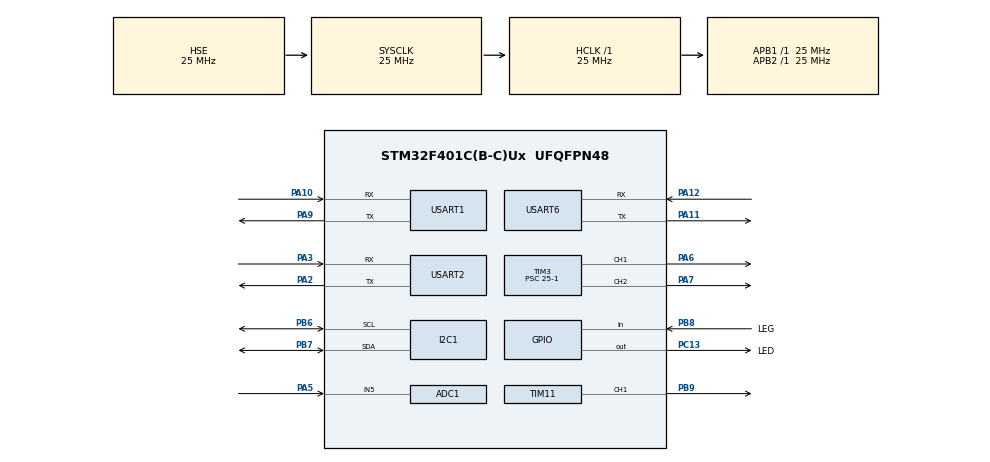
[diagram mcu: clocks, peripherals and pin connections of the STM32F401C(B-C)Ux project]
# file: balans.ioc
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ADC1.Channel-6\#ChannelRegularConversion=ADC_CHANNEL_5
ADC1.NbrOfConversionFlag=1
ADC1.Rank-6\#ChannelRegularConversion=1
ADC1.Resolution=ADC_RESOLUTION_10B
ADC1.SamplingTime-6\#ChannelRegularConversion=ADC_SAMPLETIME_3CYCLES
ADC1.master=1
Dma.Request0=USART6_RX
Dma.USART6_RX.0.Direction=DMA_PERIPH_TO_MEMORY
Dma.USART6_RX.0.FIFOMode=DMA_FIFOMODE_DISABLE
Dma.USART6_RX.0.Instance=DMA2_Stream2
Dma.USART6_RX.0.MemDataAlignment=DMA_MDATAALIGN_BYTE
Dma.USART6_RX.0.MemInc=DMA_MINC_ENABLE
Dma.USART6_RX.0.Mode=DMA_CIRCULAR
Dma.USART6_RX.0.PeriphDataAlignment=DMA_PDATAALIGN_BYTE
Dma.USART6_RX.0.PeriphInc=DMA_PINC_DISABLE
Dma.USART6_RX.0.Priority=DMA_PRIORITY_VERY_HIGH
I2C1.I2C_Mode=I2C_Fast
Mcu.Family=STM32F4
Mcu.Name=STM32F401C(B-C)Ux
Mcu.Package=UFQFPN48
NVIC.DMA2_Stream2_IRQn=true\:0\:0\:false\:false\:true\:false\:true
NVIC.PriorityGroup=NVIC_PRIORITYGROUP_4
NVIC.USART2_IRQn=true\:0\:0\:false\:false\:true\:true\:true
PA10.Mode=Asynchronous
PA10.Signal=USART1_RX
PA11.Mode=Asynchronous
PA11.Signal=USART6_TX
PA12.Mode=Asynchronous
PA12.Signal=USART6_RX
PA13.Mode=Serial_Wire
PA13.Signal=SYS_JTMS-SWDIO
PA14.Mode=Serial_Wire
PA14.Signal=SYS_JTCK-SWCLK
PA2.Mode=Asynchronous
PA2.Signal=USART2_TX
PA3.Mode=Asynchronous
PA3.Signal=USART2_RX
PA5.Signal=ADCx_IN5
PA6.Signal=S_TIM3_CH1
PA7.Signal=S_TIM3_CH2
PA9.Mode=Asynchronous
PA9.Signal=USART1_TX
PB6.Mode=I2C
PB6.Signal=I2C1_SCL
PB7.Mode=I2C
PB7.Signal=I2C1_SDA
PB8.GPIO_Label=LEG
PB8.GPIO_PuPd=GPIO_PULLUP
PB8.Signal=GPIO_Input
PB9.Signal=S_TIM11_CH1
PC13-ANTI_TAMP.GPIO_Label=LED
PC13-ANTI_TAMP.Signal=GPIO_Output
PC14-OSC32_IN.Mode=LSE-External-Oscillator
PC14-OSC32_IN.Signal=RCC_OSC32_IN
PC15-OSC32_OUT.Mode=LSE-External-Oscillator
PC15-OSC32_OUT.Signal=RCC_OSC32_OUT
PH0\ -\ OSC_IN.Mode=HSE-External-Oscillator
PH0\ -\ OSC_IN.Signal=RCC_OSC_IN
PH1\ -\ OSC_OUT.Mode=HSE-External-Oscillator
PH1\ -\ OSC_OUT.Signal=RCC_OSC_OUT
ProjectManager.HeapSize=0x200
ProjectManager.StackSize=0x400
ProjectManager.TargetToolchain=STM32CubeIDE
RCC.48MHZClocksFreq_Value=30000000
RCC.AHBFreq_Value=25000000
RCC.APB1Freq_Value=25000000
RCC.APB1TimFreq_Value=25000000
RCC.APB2Freq_Value=25000000
RCC.APB2TimFreq_Value=25000000
RCC.CortexFreq_Value=25000000
RCC.HCLKFreq_Value=25000000
RCC.HSE_VALUE=25000000
RCC.HSI_VALUE=16000000
RCC.PLLM=8
RCC.PLLN=60
RCC.SYSCLKFreq_VALUE=25000000
RCC.SYSCLKSource=RCC_SYSCLKSOURCE_HSE
RCC.VCOOutputFreq_Value=120000000
SH.ADCx_IN5.0=ADC1_IN5,IN5
SH.S_TIM11_CH1.0=TIM11_CH1,PWM Generation1 CH1
SH.S_TIM3_CH1.0=TIM3_CH1,PWM Generation1 CH1
SH.S_TIM3_CH2.0=TIM3_CH2,PWM Generation2 CH2
TIM11.AutoReloadPreload=TIM_AUTORELOAD_PRELOAD_ENABLE
TIM11.Channel=TIM_CHANNEL_1
TIM11.Period=20000-1
TIM11.Prescaler=25-1
TIM11.Pulse=0
TIM3.AutoReloadPreload=TIM_AUTORELOAD_PRELOAD_ENABLE
TIM3.Channel-PWM\ Generation1\ CH1=TIM_CHANNEL_1
TIM3.Channel-PWM\ Generation2\ CH2=TIM_CHANNEL_2
TIM3.Period=125-1
TIM3.Prescaler=25-1
USART1.VirtualMode=VM_ASYNC
USART2.VirtualMode=VM_ASYNC
USART6.VirtualMode=VM_ASYNC
VP_TIM11_VS_ClockSourceINT.Mode=Enable_Timer
VP_TIM3_VS_ClockSourceINT.Mode=Internal
board=custom

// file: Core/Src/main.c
/* USER CODE BEGIN Header */
/**
 ******************************************************************************
 * @file           : main.c
 * @brief          : Main program body
 ******************************************************************************
 * @attention
 *
 * <h2><center>&copy; Copyright (c) 2021 STMicroelectronics.
 * All rights reserved.</center></h2>
 *
 * This software component is licensed by ST under BSD 3-Clause license,
 * the "License"; You may not use this file except in compliance with the
 * License. You may obtain a copy of the License at:
 *                        opensource.org/licenses/BSD-3-Clause
 *
 ******************************************************************************
 */
/* USER CODE END Header */
#include "main.h"
#include "adc.h"
#include "dma.h"
#include "i2c.h"
#include "tim.h"
#include "usart.h"
#include "gpio.h"

/* USER CODE BEGIN Includes */
//#include <stdio.h> not needed if no debugging
//#include <string.h>
#include "hoverserial.h"
#include "mpu6050.h"
#include "ibus.h"
#include "additives.h"
#include "setting_speed_rc.h"
#include "pid.h"
#include "servo.h"
#include "leg_motor.h"
/* USER CODE END Includes */

void SystemClock_Config(void);

int main(void) {
	/* USER CODE BEGIN 1 */
	// char buffer[100]; //bufor na potrzeby debugowania w uart1
	// przyklad do wysylania danych po serialu
	// sprintf(buffer, "cos tam: %3.2f\n\r", jakis_float);
	// HAL_UART_Transmit(&huart1, (uint8_t*) buffer, strlen(buffer), 100);
	_Bool mpu6050_ready = 0; //zwracane przez MPU6050_Init()

	uint8_t balance_state_machine = 0; //maszyna stanów (stany 0 - poziomo, 1 - wstawanie, 2 - pionowo, 3 - opadanie)

	uint8_t byte;	//wymagane dla ibus
	uint16_t ibus_data[IBUS_USER_CHANNELS];

	uint32_t fall_counter = 0; // zmienna do eksperymentalnego wyznaczania czasu opadania robota

	uint32_t loop_timer = 0; //zmienne do obliczania czasu trwania pętli
	float time = 0;
	/* USER CODE END 1 */

	/* MCU Configuration--------------------------------------------------------*/

	/* Reset of all peripherals, Initializes the Flash interface and the Systick. */
	HAL_Init();

	/* Configure the system clock */
	SystemClock_Config();

	/* Initialize all configured peripherals */
	MX_GPIO_Init();
	MX_I2C1_Init();
	MX_USART1_UART_Init();
	MX_USART2_UART_Init();
	MX_DMA_Init();
	MX_USART6_UART_Init();
	MX_ADC1_Init();
	MX_TIM3_Init();
	MX_TIM11_Init();
	/* USER CODE BEGIN 2 */
	HAL_Delay(2000);
	mpu6050_ready = MPU6050_Init();
	HAL_Delay(10);

	ibus_init();

	HAL_UART_Receive_IT(commUART, &byte, sizeof(byte)); //oczekiwanie na przerwanie

	HAL_TIM_PWM_Start(motorTIM, TIM_CHANNEL_1);
	HAL_TIM_PWM_Start(motorTIM, TIM_CHANNEL_2);
	HAL_TIM_PWM_Start(servoTIM, TIM_CHANNEL_1);

	loop_timer = getCurrentMicros();
	/* USER CODE END 2 */

	/* Infinite loop */
	/* USER CODE BEGIN WHILE */
	while (1) {
		if (mpu6050_ready) {
			//jeśli mpu6050 nie jest gotowe to cały program nie wystartuje i należy zrestartować kontroler/rozwiązać problemy z magistralą I2C

			// pochodzi z hoverserial.ino
			Receive(&byte);

			ibus_read(ibus_data);
			ibus_soft_failsafe(ibus_data, 10); // if ibus is not updated, clear ibus data - pochodzi z biblioteki ibus

			int16_t V_bok_apar = ibus_data[1 - 1]; 		// predkosc boki
			int16_t V_apar = ibus_data[2 - 1]; 			// predkosc przód
			int16_t V_max_apar = ibus_data[5 - 1]; // regulacja maksymalnej predkosci silnikow w przód
			int16_t Relay_SW = ibus_data[6 - 1]; 		// zalacz silniki
			int16_t Fi_max_apar = ibus_data[7 - 1];	// regulacja maksymalnej predkosci katowej przy skrecaniu
			int16_t balancing_mode = ibus_data[8 - 1];	// przelacz tryb jazdy

			float acctheta = MPU6050_Read_Accel();
			float gyrovelo = MPU6050_Read_Gyro();

			float theta = 0.9995 * (theta + gyrovelo * time)//filtr komplementarny
			+ (1 - 0.9995) * acctheta;

			camera_angle(theta);	//ustawienie serwa kamery

			// Poniżej maszyna stanów do jazdy i zmiany trybów
			if (balance_state_machine == 0 || Relay_SW < 1900
					|| Relay_SW > 2100) {
				//pierwotny stan - 4wheel, jazda horyzontalna, także stan po wyłączeniu silników
				horizontal_control(V_bok_apar, V_apar, V_max_apar, Fi_max_apar,
						Relay_SW);
				hide_leg();
			}
			if (Relay_SW > 1900 && Relay_SW < 2100) {
				//kolejne tryby pod warunkiem załączenia silników
				if (balance_state_machine == 0 && balancing_mode > 1900
						&& balancing_mode < 2100) {
					balance_state_machine = 1;// przejście do stanu 1 - wstawanie jeżeli przełączono switcha
				}

				if (balance_state_machine == 1) {			// wstawanie
					Send(0, 0);
					leg_motor(-100);
				}

				if (balance_state_machine == 1 && theta > 70) {
					balance_state_machine = 2;// jeżeli osiągnięto 70 stopni - przejdź do trybu balansowania - stan 2
					leg_motor(0);
				}

				if (balance_state_machine == 2) {// balansowanie, kolejny stan zależy od wartości zwróconej przez vertical_control
					balance_state_machine = vertical_control(V_bok_apar, V_apar,
							V_max_apar, Fi_max_apar, Relay_SW, balancing_mode,
							theta);

					fall_counter = 0;
					hide_leg();
				}
				if (balance_state_machine == 3) {			// osiadanie
					//noga jest wysuwana do pewnego stopnia zależnego od liczby iteracji - teraz 550
					leg_motor(-90);
					Send(0, 0);
					fall_counter++;
					//gdy czas upłynie noga zostanie wyłączona i nastąpi przejście do stanu zero, w którym to noga znów zostanie schowana
					if (fall_counter > 550) {
						balance_state_machine = 0;
						leg_motor(0);
					}
				}

			}
			// loop_timer przepełni się po 70 minutach, jeśli robot ma działać dłużej należy zmienić metodę pomiaru czasu
			time = (getCurrentMicros() - loop_timer) * 1e-6;
			loop_timer = getCurrentMicros();
		}
	}
	/* USER CODE END WHILE */

}

void SystemClock_Config(void) {
	RCC_OscInitTypeDef RCC_OscInitStruct = { 0 };
	RCC_ClkInitTypeDef RCC_ClkInitStruct = { 0 };

	/** Configure the main internal regulator output voltage
	 */
	__HAL_RCC_PWR_CLK_ENABLE();
	__HAL_PWR_VOLTAGESCALING_CONFIG(PWR_REGULATOR_VOLTAGE_SCALE2);
	/** Initializes the RCC Oscillators according to the specified parameters
	 * in the RCC_OscInitTypeDef structure.
	 */
	RCC_OscInitStruct.OscillatorType = RCC_OSCILLATORTYPE_HSE;
	RCC_OscInitStruct.HSEState = RCC_HSE_ON;
	RCC_OscInitStruct.PLL.PLLState = RCC_PLL_NONE;
	if (HAL_RCC_OscConfig(&RCC_OscInitStruct) != HAL_OK) {
		Error_Handler();
	}
	/** Initializes the CPU, AHB and APB buses clocks
	 */
	RCC_ClkInitStruct.ClockType = RCC_CLOCKTYPE_HCLK | RCC_CLOCKTYPE_SYSCLK
			| RCC_CLOCKTYPE_PCLK1 | RCC_CLOCKTYPE_PCLK2;
	RCC_ClkInitStruct.SYSCLKSource = RCC_SYSCLKSOURCE_HSE;
	RCC_ClkInitStruct.AHBCLKDivider = RCC_SYSCLK_DIV1;
	RCC_ClkInitStruct.APB1CLKDivider = RCC_HCLK_DIV1;
	RCC_ClkInitStruct.APB2CLKDivider = RCC_HCLK_DIV1;

	if (HAL_RCC_ClockConfig(&RCC_ClkInitStruct, FLASH_LATENCY_0) != HAL_OK) {
		Error_Handler();
	}
}

/* USER CODE BEGIN 4 */
void HAL_UART_RxCpltCallback(UART_HandleTypeDef *huart) {//przerwanie na potrzeby obsługi komunikacji ze sterownikiem BLDC
	if (huart == commUART) { 	//sprawdzenie czy przyszło z właściwego uarta
		data_available = 1;
		//ponowne wywołanie oczekiwania na przerwania dzieje się po przetworzeniu danych w hoverserial.c (linijka 74 w hoverserial.c)
	}
	if (huart == IBUS_UART)
		ibus_reset_failsafe();
}
/* USER CODE END 4 */

void Error_Handler(void) {
	__disable_irq();
	while (1) {
	}
}

/************************ (C) COPYRIGHT STMicroelectronics *****END OF FILE****/
